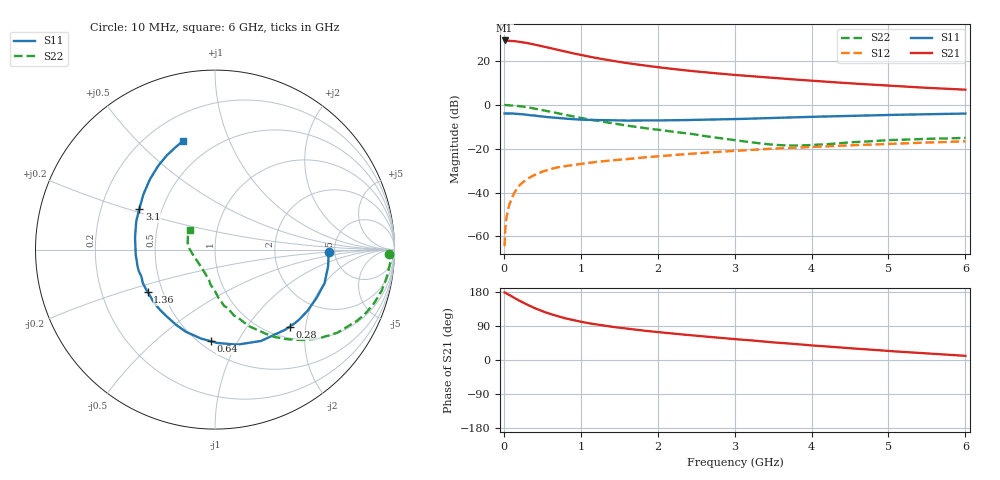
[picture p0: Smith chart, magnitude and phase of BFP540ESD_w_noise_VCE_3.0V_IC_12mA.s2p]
! Infineon Technologies  Discrete & RF Semiconductors
! BFP540ESD
! VCE =  3.0 V,  IC =  12 mA
! Common Emitter S-Parameters:  Nov 2015
# GHz  S  MA  R  50
!  f  S11  S21  S12  S22
! GHz  MAG  ANG  MAG  ANG  MAG  ANG  MAG  ANG
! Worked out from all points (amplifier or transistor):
!   210 points, 10 MHz to 6 GHz, reference 50 ohm
!   highest |S21| = 29.3 dB at 10 MHz (marker M1)
!   |S21| within 3 dB of that: start of sweep to 545.2 MHz
!   unconditionally stable (mu >= 1): start of sweep to 10.33 MHz; 2.558 GHz to end of sweep
!   at 185 MHz: K = 0.13, MSG = 33.1 dB, |S12| = -37.5 dB
!   at 1.52 GHz: K = 0.77, MSG = 22.2 dB, |S12| = -25.0 dB
!   at 6 GHz: K = 1.14, MAG = 9.5 dB, |S12| = -16.6 dB
!   lowest NFmin = 0.93 dB at 900 MHz
!   S11 on the Smith chart (normalised r, x): 10 MHz: 4.44, -0.21; 280 MHz: 1.23, -1.64; 640 MHz: 0.57, -0.78; 1.36 GHz: 0.41, -0.24; 3.1 GHz: 0.37, +0.22; 6 GHz: 0.34, +0.69
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0.01  0.6333 -1.3  29.32 178.1  0.0006 90.8  0.9675 -1.4
0.02  0.6339 -3.8  28.86 177.5  0.0016 90.1  0.9926 -1.7
0.05  0.6371 -8.4  28.92 173.8  0.0039 76.6  0.9786 -4.5
0.15  0.6268 -25.4  28.12 162.4  0.0108 79.2  0.9563 -13.9
0.2  0.6181 -33.5  27.37 156.8  0.0145 78.1  0.9364 -18.4
0.28  0.5982 -45.8  26.01 148.5  0.0191 72.2  0.896 -25.0
0.4  0.5699 -63.3  23.67 137.0  0.0252 67.2  0.825 -34.1
0.45  0.5529 -69.9  22.64 133.0  0.0275 64.6  0.7914 -37.3
0.5  0.5437 -76.9  21.73 128.7  0.0299 62.4  0.7605 -40.7
0.6  0.5203 -88.6  19.68 121.5  0.0341 59.4  0.6991 -46.1
0.64  0.511 -92.6  18.98 119.3  0.0355 58.3  0.676 -48.0
0.8  0.4859 -109.4  16.36 109.9  0.0401 54.4  0.5902 -55.6
1.02  0.4585 -126.7  13.5 100.4  0.0455 51.9  0.4961 -63.1
1.2  0.4504 -139.2  11.69 93.9  0.05 50.0  0.4363 -68.3
1.36  0.4435 -147.8  10.46 89.1  0.0533 49.0  0.3917 -72.6
1.68  0.4401 -163.5  8.554 80.6  0.06 47.6  0.3215 -80.0
2.02  0.4426 -176.5  7.141 73.3  0.0672 46.0  0.2689 -86.0
2.6  0.4574 165.1  5.542 62.2  0.0803 43.2  0.195 -97.7
3.1  0.4779 152.0  4.657 53.6  0.0913 40.3  0.1485 -110.2
4.1  0.5381 131.2  3.451 37.2  0.1112 32.9  0.1237 -163.7
5.1  0.5926 116.1  2.681 22.5  0.1304 25.4  0.1585 163.7
6  0.6321 106.3  2.215 11.0  0.1473 19.6  0.1766 142.8
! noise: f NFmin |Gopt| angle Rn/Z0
0.9  0.93  0.16  -133  0.11
1.8  1.11  0.2  -149  0.1
2.4  1.12  0.2  -146  0.1
3  1.24  0.25  -142  0.11
4  1.35  0.38  -110  0.17
5  1.51  0.47  -91  0.3
6  1.78  0.53  -92  0.49
